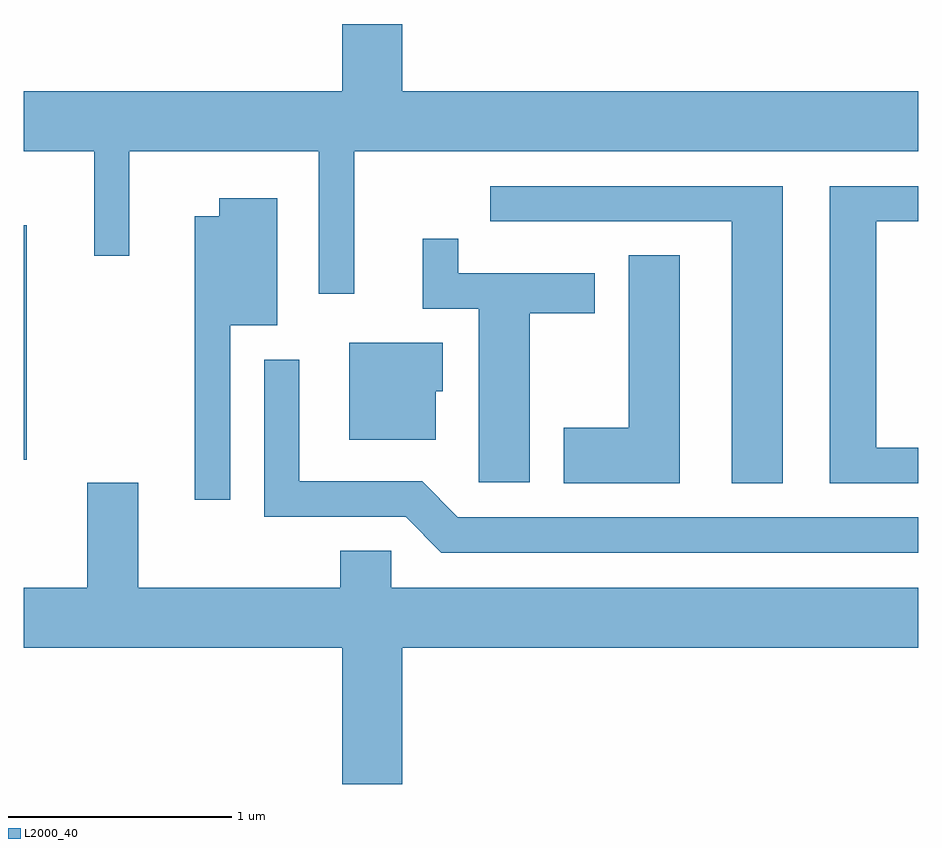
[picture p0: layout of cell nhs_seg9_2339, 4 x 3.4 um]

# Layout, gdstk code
import gdstk
lib = gdstk.Library(unit=1e-6, precision=1e-09)
def R(c, l, rs):  # rectangles x0, y0, x1, y1
    for r in rs: c.add(gdstk.rectangle(r[:2], r[2:], *l))
def P(c, l, *ps):  # polygons
    for p in ps: c.add(gdstk.Polygon(p, *l))
L2000_40 = (2000, 40)

nhs_seg9_2339 = lib.new_cell('nhs_seg9_2339')
R(nhs_seg9_2339, L2000_40, [(253.611,2008.196,253.624,2009.244)])
P(nhs_seg9_2339, L2000_40, [(255.089,2009.576),(257.611,2009.576),(257.611,2009.844),(255.304,2009.844),(255.304,2010.144),(255.036,2010.144),(255.036,2009.844),(253.611,2009.844),(253.611,2009.576),(253.926,2009.576),(253.926,2009.108),(254.084,2009.108),(254.084,2009.576),(254.931,2009.576),(254.931,2008.938),(255.089,2008.938)],
  [(257.004,2009.419),(255.698,2009.419),(255.698,2009.261),(256.776,2009.261),(256.776,2008.091),(257.004,2008.091)],
  [(257.611,2008.249),(257.424,2008.249),(257.424,2009.261),(257.611,2009.261),(257.611,2009.419),(257.216,2009.419),(257.216,2008.091),(257.611,2008.091)],
  [(254.534,2008.796),(254.744,2008.796),(254.744,2009.364),(254.486,2009.364),(254.486,2009.284),(254.376,2009.284),(254.376,2008.018),(254.534,2008.018)],
  [(255.874,2008.851),(256.164,2008.851),(256.164,2009.029),(255.554,2009.029),(255.554,2009.183),(255.396,2009.183),(255.396,2008.871),(255.646,2008.871),(255.646,2008.096),(255.874,2008.096)],
  [(256.544,2009.109),(256.316,2009.109),(256.316,2008.339),(256.026,2008.339),(256.026,2008.091),(256.544,2008.091)],
  [(255.454,2008.501),(255.484,2008.501),(255.484,2008.719),(255.066,2008.719),(255.066,2008.286),(255.454,2008.286)],
  [(257.611,2007.939),(255.552,2007.939),(255.392,2008.099),(254.844,2008.099),(254.844,2008.643),(254.686,2008.643),(254.686,2007.941),(255.319,2007.941),(255.479,2007.781),(257.611,2007.781)],
  [(255.304,2007.356),(257.611,2007.356),(257.611,2007.624),(255.254,2007.624),(255.254,2007.789),(255.026,2007.789),(255.026,2007.624),(254.124,2007.624),(254.124,2008.094),(253.896,2008.094),(253.896,2007.624),(253.611,2007.624),(253.611,2007.356),(255.036,2007.356),(255.036,2006.746),(255.304,2006.746)])

lib.write_gds('nhs_seg9_2339.gds')
